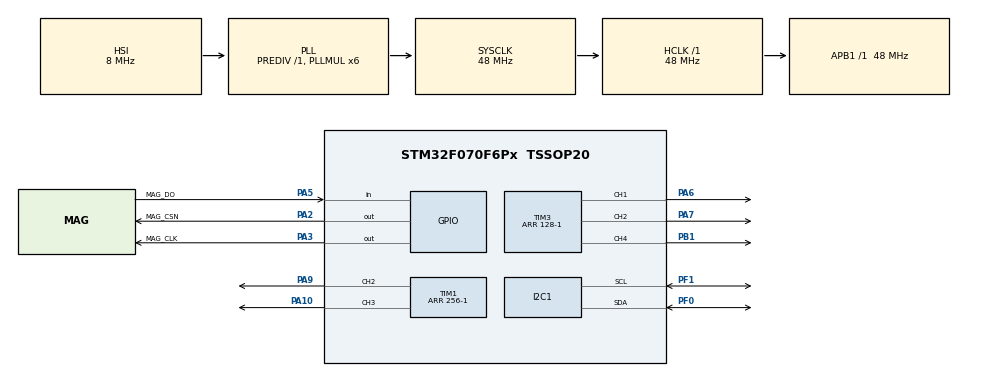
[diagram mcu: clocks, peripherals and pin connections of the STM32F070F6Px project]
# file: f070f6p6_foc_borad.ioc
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I2C1.OwnAddress=7
Mcu.Family=STM32F0
Mcu.Name=STM32F070F6Px
Mcu.Package=TSSOP20
NVIC.I2C1_IRQn=true\:0\:0\:false\:false\:true\:true\:true\:true
PA10.Signal=S_TIM1_CH3
PA13.Mode=Serial_Wire
PA13.Signal=SYS_SWDIO
PA14.Mode=Serial_Wire
PA14.Signal=SYS_SWCLK
PA2.GPIO_Label=MAG_CSN
PA2.Signal=GPIO_Output
PA3.GPIO_Label=MAG_CLK
PA3.Signal=GPIO_Output
PA5.GPIO_Label=MAG_DO
PA5.Signal=GPIO_Input
PA6.Signal=S_TIM3_CH1
PA7.Signal=S_TIM3_CH2
PA9.Signal=S_TIM1_CH2
PB1.Signal=S_TIM3_CH4
PF0-OSC_IN.GPIO_Pu=GPIO_PULLUP
PF0-OSC_IN.Mode=I2C
PF0-OSC_IN.Signal=I2C1_SDA
PF1-OSC_OUT.GPIO_Pu=GPIO_PULLUP
PF1-OSC_OUT.Mode=I2C
PF1-OSC_OUT.Signal=I2C1_SCL
ProjectManager.HeapSize=0x200
ProjectManager.StackSize=0x400
ProjectManager.TargetToolchain=STM32CubeIDE
RCC.AHBFreq_Value=48000000
RCC.APB1Freq_Value=48000000
RCC.APB1TimFreq_Value=48000000
RCC.HCLKFreq_Value=48000000
RCC.PLLMUL=RCC_PLL_MUL6
RCC.SYSCLKFreq_VALUE=48000000
RCC.SYSCLKSource=RCC_SYSCLKSOURCE_PLLCLK
SH.S_TIM1_CH2.0=TIM1_CH2,PWM Generation2 CH2
SH.S_TIM1_CH3.0=TIM1_CH3,PWM Generation3 CH3
SH.S_TIM3_CH1.0=TIM3_CH1,PWM Generation1 CH1
SH.S_TIM3_CH2.0=TIM3_CH2,PWM Generation2 CH2
SH.S_TIM3_CH4.0=TIM3_CH4,PWM Generation4 CH4
TIM1.Channel-PWM\ Generation2\ CH2=TIM_CHANNEL_2
TIM1.Channel-PWM\ Generation3\ CH3=TIM_CHANNEL_3
TIM1.OCPolarity_2=TIM_OCPOLARITY_LOW
TIM1.OCPolarity_3=TIM_OCPOLARITY_LOW
TIM1.Period=256-1
TIM3.Channel-PWM\ Generation1\ CH1=TIM_CHANNEL_1
TIM3.Channel-PWM\ Generation2\ CH2=TIM_CHANNEL_2
TIM3.Channel-PWM\ Generation4\ CH4=TIM_CHANNEL_4
TIM3.Period=128-1
TIM3.Pulse-PWM\ Generation1\ CH1=16
TIM3.Pulse-PWM\ Generation2\ CH2=12
TIM3.Pulse-PWM\ Generation4\ CH4=8
VP_TIM3_VS_ClockSourceINT.Mode=Internal
board=custom

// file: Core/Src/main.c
/* USER CODE BEGIN Header */
/**
  ******************************************************************************
  * @file           : main.c
  * @brief          : Main program body
  ******************************************************************************
  * @attention
  *
  * Copyright (c) 2023 STMicroelectronics.
  * All rights reserved.
  *
  * This software is licensed under terms that can be found in the LICENSE file
  * in the root directory of this software component.
  * If no LICENSE file comes with this software, it is provided AS-IS.
  *
  ******************************************************************************
  */
/* USER CODE END Header */
#include "main.h"
#include "i2c.h"
#include "tim.h"
#include "gpio.h"

/* USER CODE BEGIN Includes */
#include "utils.h"
#include "string.h"
/* USER CODE END Includes */

/* USER CODE BEGIN PD */

// modify this ELEC_ANGLE_ZERO_POINT based on the angle of magnetic sensor relative to the motor
#define ELEC_ANGLE_ZERO_POINT 0.565
//#define MAG_MOUNTED_ON_TOP

// flags for debug code
//#define TEST_ELEC_ANGLE_ZERO_POINT
//#define TEST_SENDING_I2C

// velocity smoothing factor (0-1)
// closer to 0 = smoother
#define VEL_LERP 0.1

#define PID_MODE_FORCE 1
#define PID_MODE_VELOCITY 2
#define PID_MODE_POSITION 3

// I2C def:
// byte0 is a flag
// byte1-4 is a float
// flags:
#define I2C_UPDATE_FLAG_FORCE_TARGET 1
#define I2C_UPDATE_FLAG_VELOCITY_TARGET 2
#define I2C_UPDATE_FLAG_POSITION_TARGET 3
#define I2C_UPDATE_FLAG_VELOCITY_KP 4
#define I2C_UPDATE_FLAG_VELOCITY_KI 5
#define I2C_UPDATE_FLAG_POSITION_KP 6
#define I2C_UPDATE_FLAG_POSITION_KI 7
#define I2C_UPDATE_FLAG_POSITION_KD 8

typedef struct {
    float force_target;
    float velocity_target;
    float position_target;

    float velocity_integral;
    float velocity_integral_cap;
    float velocity_kp;
    float velocity_ki;

    float position_integral;
    float position_integral_cap;
    float position_kp;
    float position_ki;
    float position_kd;

    uint8_t pid_mode;

} PIDState;

typedef union {
    float f;
    uint8_t u4[4];
} Converter;

/* USER CODE END PD */

/* USER CODE BEGIN PV */

float mag_r = 0, elecAngle = 0;
float realAngle = 0, realAnglePrev = 0, realVel = 0;
uint32_t t, tPrev, dt;
float dt_f;

// i2c rx data buffer
uint8_t RxData[8] = {0};

PIDState pid_state = {
    .force_target = 0.5,
    .velocity_target = 1.0,
    .position_target = 0.0,

    .velocity_integral = 0.0,
    .velocity_integral_cap = 0.1,
    .velocity_kp = 0.1,
    .velocity_ki = 10,

    .position_integral = 0.0,
    .position_integral_cap = 0.3,
    .position_kp = 2.0,
    .position_ki = 0.2,
    .position_kd = 0.02,

    .pid_mode = PID_MODE_POSITION,
};

/* USER CODE END PV */

void SystemClock_Config(void);

/* USER CODE BEGIN 0 */

extern void HAL_I2C_ListenCpltCallback (I2C_HandleTypeDef *hi2c)
{
    HAL_I2C_EnableListen_IT(hi2c);
}

extern void HAL_I2C_ErrorCallback(I2C_HandleTypeDef *hi2c)
{
    HAL_I2C_EnableListen_IT(hi2c);
}

extern void HAL_I2C_AddrCallback(I2C_HandleTypeDef *hi2c, uint8_t TransferDirection, uint16_t AddrMatchCode)
{
    if(TransferDirection == I2C_DIRECTION_TRANSMIT)  // if the master wants to transmit the data
    {
        HAL_I2C_Slave_Sequential_Receive_IT(hi2c, RxData, 5, I2C_FIRST_AND_LAST_FRAME);
        // this triggers HAL_I2C_SlaveRxCpltCallback when completed
    }
    else  // master requesting the data is not supported yet
    {
        Error_Handler();
    }
}

extern void HAL_I2C_SlaveRxCpltCallback(I2C_HandleTypeDef *hi2c) {
    Converter converter;
    uint8_t update_flag = RxData[0];
    memcpy(&converter, &RxData[1], 4);
    float converted = converter.f;
    switch (update_flag) {
        case I2C_UPDATE_FLAG_FORCE_TARGET:
            pid_state.force_target = converted;
            pid_state.pid_mode = PID_MODE_FORCE;
            break;
        case I2C_UPDATE_FLAG_VELOCITY_TARGET:
            pid_state.velocity_target = converted;
            pid_state.pid_mode = PID_MODE_VELOCITY;
            break;
        case I2C_UPDATE_FLAG_POSITION_TARGET:
            pid_state.position_target = converted;
            pid_state.pid_mode = PID_MODE_POSITION;
            break;
        case I2C_UPDATE_FLAG_VELOCITY_KP:
            pid_state.velocity_kp = converted;
            break;
        case I2C_UPDATE_FLAG_VELOCITY_KI:
            pid_state.velocity_ki = converted;
            break;
        case I2C_UPDATE_FLAG_POSITION_KP:
            pid_state.position_kp = converted;
            break;
        case I2C_UPDATE_FLAG_POSITION_KI:
            pid_state.position_ki = converted;
            break;
        case I2C_UPDATE_FLAG_POSITION_KD:
            pid_state.position_kd = converted;
            break;
    }
}

void sendI2CFloat(uint8_t flag, float f, uint8_t addr) {
    uint8_t buf[8];
    buf[0] = flag;
    memcpy(&buf[1], &f, 4);
    HAL_I2C_Master_Transmit(&hi2c1, addr << 1, buf, 5, 1000);
}

void UVW_WritePinPwm(float u, float v, float w)
{
    // full, set pwm polarity
    // float: -1 to +1
    // wiring:
    // PB1(t3c4) - UH
    // PA7(t3c2) - VH
    // PA6(t3c1) - WH
    int PWM_MAX = 128-1;
    int u_i = (int)((u * 0.5f + 0.5f) * PWM_MAX + 0.5f);
    int v_i = (int)((v * 0.5f + 0.5f) * PWM_MAX + 0.5f);
    int w_i = (int)((w * 0.5f + 0.5f) * PWM_MAX + 0.5f);
    htim3.Instance->CCR1 = w_i;
    htim3.Instance->CCR2 = v_i;
    htim3.Instance->CCR4 = u_i;
}

void UVW_120deg(float theta, float strength)
{
    // theta: -pi to +pi
    // strength: 0 to 1
    UVW_WritePinPwm(sinFast(theta) * strength, sinFast(theta + PI / 3 * 2) * strength, sinFast(theta + PI / 3 * 4) * strength);
}

void UVW_force(float f) {
    // -1 ~ 1
    // clockwise = positive
    f = clip(f, -1, 1);
    UVW_120deg(elecAngle + PI * 0.5f, f);
}

void stat0(float brightness) {
    htim1.Instance->CCR3 = (uint32_t)(clip01(brightness) * 255 + 0.5f); // stat0 outer
}

void stat1(float brightness) {
    htim1.Instance->CCR2 = (uint32_t)(clip01(brightness) * 255 + 0.5f); // stat1 inner
}

void smallDelay()
{
//    for (int i = 0; i < 10; ++i);
    __NOP();
}

void readMagSsi()
{
    unsigned int mag_d;
//    unsigned char mag_mg;
//    unsigned char mag_crc;
    mag_d = 0;
//    mag_mg = 0;
//    mag_crc = 0;
    unsigned char d;
    GPIOA->BRR = MAG_CSN_Pin;
    smallDelay();
    for (int i = 0; i < 14; i++)
    {
        GPIOA->BRR = MAG_CLK_Pin;
        smallDelay();
        GPIOA->BSRR = MAG_CLK_Pin;
        smallDelay();
        d = (GPIOA->IDR & MAG_DO_Pin) != 0;
        mag_d += d << (13 - i);
    }
    for (int i = 0; i < 4; i++)
    {
        GPIOA->BRR = MAG_CLK_Pin;
        smallDelay();
        GPIOA->BSRR = MAG_CLK_Pin;
        smallDelay();
        d = (GPIOA->IDR & MAG_DO_Pin) != 0;
//        mag_mg += d << (3 - i);
    }
    for (int i = 0; i < 6; i++)
    {
        GPIOA->BRR = MAG_CLK_Pin;
        smallDelay();
        GPIOA->BSRR = MAG_CLK_Pin;
        smallDelay();
        d = (GPIOA->IDR & MAG_DO_Pin) != 0;
//        mag_crc += d << (5 - i);
    }
    mag_r = mag_d / 16384.f;
//    smallDelay();
    GPIOA->BSRR = MAG_CSN_Pin;
//    elecAngle = convertAngleLUT(mag_r);
}
/* USER CODE END 0 */

int main(void)
{

  /* MCU Configuration--------------------------------------------------------*/

  /* Reset of all peripherals, Initializes the Flash interface and the Systick. */
  HAL_Init();

  /* Configure the system clock */
  SystemClock_Config();

  /* Initialize all configured peripherals */
  MX_GPIO_Init();
  MX_I2C1_Init();
  MX_TIM3_Init();
  MX_TIM1_Init();
  /* USER CODE BEGIN 2 */
    // PWM for motor
    HAL_TIM_PWM_Start(&htim3, TIM_CHANNEL_1);
    HAL_TIM_PWM_Start(&htim3, TIM_CHANNEL_2);
    HAL_TIM_PWM_Start(&htim3, TIM_CHANNEL_4);
    // PWM for led
    HAL_TIM_PWM_Start(&htim1, TIM_CHANNEL_2);
    HAL_TIM_PWM_Start(&htim1, TIM_CHANNEL_3);
    stat1(0.3);

    tPrev = HAL_GetTick();

    readMagSsi();
    realAngle = mag_r * 2 * PI;

#ifndef TEST_SENDING_I2C
    HAL_I2C_EnableListen_IT(&hi2c1);
#endif

  /* USER CODE END 2 */

  /* Infinite loop */
  /* USER CODE BEGIN WHILE */
    while (1)
    {
        t = HAL_GetTick();
        dt = t - tPrev;
        if (dt == 0)
            continue;
        tPrev = t;
        dt_f = dt * 0.001;

        readMagSsi();
        // 3205 motor has 7 electrical periods per turn
#ifdef MAG_MOUNTED_ON_TOP
        elecANgle = (mag_r - ELEC_ANGLE_ZERO_POINT) * 7 * PI * 2;
#else
        elecAngle = -(mag_r - ELEC_ANGLE_ZERO_POINT) * 7 * PI * 2;
#endif
        realAngle = -mag_r * 2 * PI;
        realVel = realVel * (1 - VEL_LERP) + VEL_LERP * deltaAngle(realAngle, realAnglePrev) / dt_f;
        realAnglePrev = realAngle;

        // show elecAngle with LED
        stat0(0.5 * sinFast(elecAngle) + 0.5);

#ifdef TEST_ELEC_ANGLE_ZERO_POINT
        UVW_120deg(0, 1);
#else
#ifdef TEST_SENDING_I2C
        HAL_Delay(2000);
        // position -> 1.0
        sendI2CFloat(I2C_UPDATE_FLAG_POSITION_TARGET, 1.0, 7);
        HAL_Delay(2000);
        // position -> 0.0
        sendI2CFloat(I2C_UPDATE_FLAG_POSITION_TARGET, 0.0, 7);
        HAL_Delay(2000);
        // angular velocity -> 0.2
        sendI2CFloat(I2C_UPDATE_FLAG_VELOCITY_TARGET, 0.2, 7);
        HAL_Delay(2000);
        // angular velocity -> -0.2
        sendI2CFloat(I2C_UPDATE_FLAG_VELOCITY_TARGET, -0.2, 7);
        HAL_Delay(2000);
        // force -> 1.0
        sendI2CFloat(I2C_UPDATE_FLAG_FORCE_TARGET, 1.0, 7);
#else
        // control loop
        float diff;
        switch (pid_state.pid_mode)
        {
        case PID_MODE_FORCE:
            UVW_force(pid_state.force_target);
            break;
        case PID_MODE_VELOCITY:
            // vel ---P+I---> force
            diff = pid_state.velocity_target - realVel;
            pid_state.velocity_integral = clip(pid_state.velocity_integral + diff * dt_f, -pid_state.velocity_integral_cap, pid_state.velocity_integral_cap);
            UVW_force(pid_state.velocity_kp * diff + pid_state.velocity_ki * pid_state.velocity_integral);
            break;
        case PID_MODE_POSITION:
            // pos ---P+I+D---> force
            diff = deltaAngle(pid_state.position_target, realAngle);
            pid_state.position_integral = clip(pid_state.position_integral + diff * dt_f, -pid_state.position_integral_cap, pid_state.position_integral_cap);
            UVW_force(pid_state.position_kp * diff + pid_state.position_ki * pid_state.position_integral - pid_state.position_kd * realVel);
            break;
        }
#endif  // TEST_SENDING_I2C
#endif  // TEST_ELEC_ANGLE_ZERO_POINT
    /* USER CODE END WHILE */

    }
}

void SystemClock_Config(void)
{
  RCC_OscInitTypeDef RCC_OscInitStruct = {0};
  RCC_ClkInitTypeDef RCC_ClkInitStruct = {0};
  RCC_PeriphCLKInitTypeDef PeriphClkInit = {0};

  /** Initializes the RCC Oscillators according to the specified parameters
  * in the RCC_OscInitTypeDef structure.
  */
  RCC_OscInitStruct.OscillatorType = RCC_OSCILLATORTYPE_HSI;
  RCC_OscInitStruct.HSIState = RCC_HSI_ON;
  RCC_OscInitStruct.HSICalibrationValue = RCC_HSICALIBRATION_DEFAULT;
  RCC_OscInitStruct.PLL.PLLState = RCC_PLL_ON;
  RCC_OscInitStruct.PLL.PLLSource = RCC_PLLSOURCE_HSI;
  RCC_OscInitStruct.PLL.PLLMUL = RCC_PLL_MUL6;
  RCC_OscInitStruct.PLL.PREDIV = RCC_PREDIV_DIV1;
  if (HAL_RCC_OscConfig(&RCC_OscInitStruct) != HAL_OK)
  {
    Error_Handler();
  }

  /** Initializes the CPU, AHB and APB buses clocks
  */
  RCC_ClkInitStruct.ClockType = RCC_CLOCKTYPE_HCLK|RCC_CLOCKTYPE_SYSCLK
                              |RCC_CLOCKTYPE_PCLK1;
  RCC_ClkInitStruct.SYSCLKSource = RCC_SYSCLKSOURCE_PLLCLK;
  RCC_ClkInitStruct.AHBCLKDivider = RCC_SYSCLK_DIV1;
  RCC_ClkInitStruct.APB1CLKDivider = RCC_HCLK_DIV1;

  if (HAL_RCC_ClockConfig(&RCC_ClkInitStruct, FLASH_LATENCY_1) != HAL_OK)
  {
    Error_Handler();
  }
  PeriphClkInit.PeriphClockSelection = RCC_PERIPHCLK_I2C1;
  PeriphClkInit.I2c1ClockSelection = RCC_I2C1CLKSOURCE_HSI;
  if (HAL_RCCEx_PeriphCLKConfig(&PeriphClkInit) != HAL_OK)
  {
    Error_Handler();
  }
}

void Error_Handler(void)
{
  __disable_irq();
  while (1)
  {
  }
}
